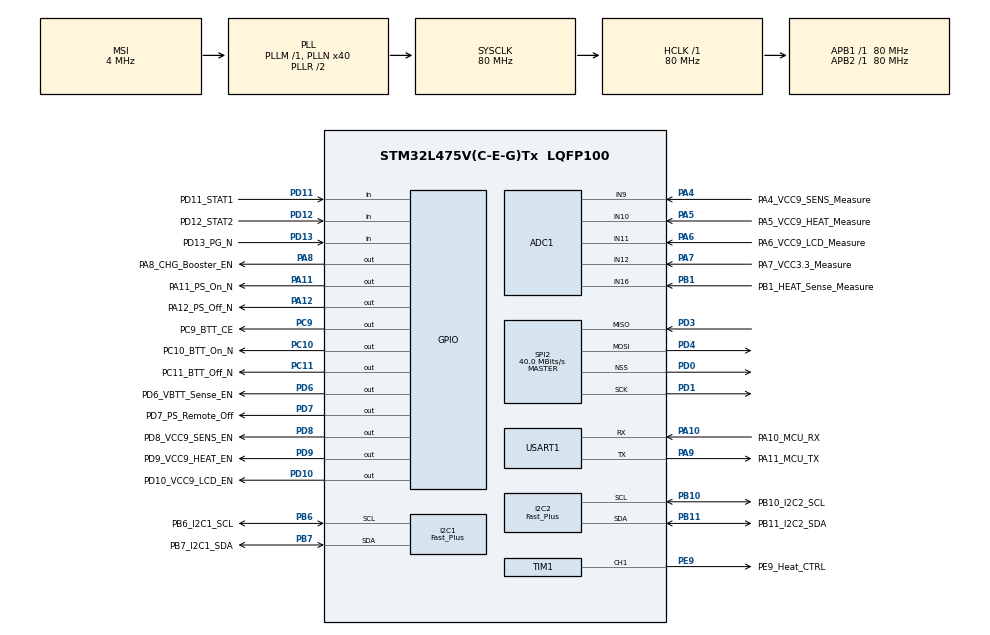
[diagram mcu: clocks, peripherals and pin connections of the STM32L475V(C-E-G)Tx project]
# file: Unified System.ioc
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ADC1.Channel-2\#ChannelRegularConversion=ADC_CHANNEL_9
ADC1.Channel-3\#ChannelRegularConversion=ADC_CHANNEL_10
ADC1.Channel-4\#ChannelRegularConversion=ADC_CHANNEL_11
ADC1.Channel-5\#ChannelRegularConversion=ADC_CHANNEL_12
ADC1.Channel-6\#ChannelRegularConversion=ADC_CHANNEL_16
ADC1.Channel-7\#ChannelRegularConversion=ADC_CHANNEL_TEMPSENSOR
ADC1.Channel-8\#ChannelRegularConversion=ADC_CHANNEL_VREFINT
ADC1.ContinuousConvMode=ENABLE
ADC1.NbrOfConversion=7
ADC1.NbrOfConversionFlag=1
ADC1.OffsetNumber-2\#ChannelRegularConversion=ADC_OFFSET_NONE
ADC1.OffsetNumber-3\#ChannelRegularConversion=ADC_OFFSET_NONE
ADC1.OffsetNumber-4\#ChannelRegularConversion=ADC_OFFSET_NONE
ADC1.OffsetNumber-5\#ChannelRegularConversion=ADC_OFFSET_NONE
ADC1.OffsetNumber-6\#ChannelRegularConversion=ADC_OFFSET_NONE
ADC1.OffsetNumber-7\#ChannelRegularConversion=ADC_OFFSET_NONE
ADC1.OffsetNumber-8\#ChannelRegularConversion=ADC_OFFSET_NONE
ADC1.OversamplingMode=ENABLE
ADC1.Rank-2\#ChannelRegularConversion=1
ADC1.Rank-3\#ChannelRegularConversion=2
ADC1.Rank-4\#ChannelRegularConversion=3
ADC1.Rank-5\#ChannelRegularConversion=4
ADC1.Rank-6\#ChannelRegularConversion=5
ADC1.Rank-7\#ChannelRegularConversion=6
ADC1.Rank-8\#ChannelRegularConversion=7
ADC1.Ratio=ADC_OVERSAMPLING_RATIO_8
ADC1.RightBitShift=ADC_RIGHTBITSHIFT_3
ADC1.SamplingTime-2\#ChannelRegularConversion=ADC_SAMPLETIME_6CYCLES_5
ADC1.SamplingTime-3\#ChannelRegularConversion=ADC_SAMPLETIME_6CYCLES_5
ADC1.SamplingTime-4\#ChannelRegularConversion=ADC_SAMPLETIME_6CYCLES_5
ADC1.SamplingTime-5\#ChannelRegularConversion=ADC_SAMPLETIME_6CYCLES_5
ADC1.SamplingTime-6\#ChannelRegularConversion=ADC_SAMPLETIME_6CYCLES_5
ADC1.SamplingTime-7\#ChannelRegularConversion=ADC_SAMPLETIME_6CYCLES_5
ADC1.SamplingTime-8\#ChannelRegularConversion=ADC_SAMPLETIME_6CYCLES_5
ADC1.master=1
I2C1.I2C_Coeff_DF=15
I2C1.I2C_Speed_Mode=I2C_Fast_Plus
I2C1.OwnAddress=0x3A
I2C1.Timing=0x00300123
I2C2.I2C_Coeff_DF=15
I2C2.I2C_Speed_Mode=I2C_Fast_Plus
I2C2.OwnAddress=0x3A
I2C2.Timing=0x00300123
Mcu.Family=STM32L4
Mcu.Name=STM32L475V(C-E-G)Tx
Mcu.Package=LQFP100
NVIC.PriorityGroup=NVIC_PRIORITYGROUP_4
NVIC.TIM4_IRQn=true\:0\:0\:false\:false\:true\:true\:true\:true
PA10.GPIO_Label=PA10_MCU_RX
PA10.Mode=Asynchronous
PA10.Signal=USART1_RX
PA11.GPIO_Label=PA11_PS_On_N
PA11.Signal=GPIO_Output
PA12.GPIO_Label=PA12_PS_Off_N
PA12.Signal=GPIO_Output
PA13\ (JTMS-SWDIO).GPIO_Label=PA13_SWDIO
PA13\ (JTMS-SWDIO).Signal=SYS_JTMS-SWDIO
PA14\ (JTCK-SWCLK).GPIO_Label=PA14_SWCLK
PA14\ (JTCK-SWCLK).Signal=SYS_JTCK-SWCLK
PA4.GPIO_Label=PA4_VCC9_SENS_Measure
PA4.Signal=ADCx_IN9
PA5.GPIO_Label=PA5_VCC9_HEAT_Measure
PA5.Signal=ADCx_IN10
PA6.GPIO_Label=PA6_VCC9_LCD_Measure
PA6.Signal=ADCx_IN11
PA7.GPIO_Label=PA7_VCC3.3_Measure
PA7.Signal=ADCx_IN12
PA8.GPIO_Label=PA8_CHG_Booster_EN
PA8.PinState=GPIO_PIN_SET
PA8.Signal=GPIO_Output
PA9.GPIO_Label=PA11_MCU_TX
PA9.Mode=Asynchronous
PA9.Signal=USART1_TX
PB1.GPIO_Label=PB1_HEAT_Sense_Measure
PB1.Signal=ADCx_IN16
PB10.GPIO_Label=PB10_I2C2_SCL
PB10.Mode=I2C
PB10.Signal=I2C2_SCL
PB11.GPIO_Label=PB11_I2C2_SDA
PB11.Mode=I2C
PB11.Signal=I2C2_SDA
PB6.GPIO_Label=PB6_I2C1_SCL
PB6.Mode=I2C
PB6.Signal=I2C1_SCL
PB7.GPIO_Label=PB7_I2C1_SDA
PB7.Mode=I2C
PB7.Signal=I2C1_SDA
PC10.GPIO_Label=PC10_BTT_On_N
PC10.Signal=GPIO_Output
PC11.GPIO_Label=PC11_BTT_Off_N
PC11.Signal=GPIO_Output
PC13.GPIO_Label=PC13_USER_PB
PC13.Mode=SYS_WakeUp1
PC13.Signal=SYS_WKUP2
PC9.GPIO_Label=PC9_BTT_CE
PC9.Signal=GPIO_Output
PD0.Mode=NSS_Signal_Hard_Output
PD0.Signal=SPI2_NSS
PD1.Mode=Full_Duplex_Master
PD1.Signal=SPI2_SCK
PD10.GPIO_Label=PD10_VCC9_LCD_EN
PD10.Signal=GPIO_Output
PD11.GPIO_Label=PD11_STAT1
PD11.Signal=GPIO_Input
PD12.GPIO_Label=PD12_STAT2
PD12.Signal=GPIO_Input
PD13.GPIO_Label=PD13_PG_N
PD13.Signal=GPIO_Input
PD3.Mode=Full_Duplex_Master
PD3.Signal=SPI2_MISO
PD4.Mode=Full_Duplex_Master
PD4.Signal=SPI2_MOSI
PD6.GPIO_Label=PD6_VBTT_Sense_EN
PD6.Signal=GPIO_Output
PD7.GPIO_Label=PD7_PS_Remote_Off
PD7.Signal=GPIO_Output
PD8.GPIO_Label=PD8_VCC9_SENS_EN
PD8.Signal=GPIO_Output
PD9.GPIO_Label=PD9_VCC9_HEAT_EN
PD9.Signal=GPIO_Output
PE6.GPIO_Label=PE6_VPS_Detect
PE6.Mode=SYS_WakeUp2
PE6.Signal=SYS_WKUP3
PE9.GPIO_Label=PE9_Heat_CTRL
PE9.Signal=S_TIM1_CH1
ProjectManager.HeapSize=0x200
ProjectManager.StackSize=0x400
ProjectManager.TargetToolchain=EWARM V8.32
RCC.ADCFreq_Value=32000000
RCC.AHBFreq_Value=80000000
RCC.APB1Freq_Value=80000000
RCC.APB1TimFreq_Value=80000000
RCC.APB2Freq_Value=80000000
RCC.APB2TimFreq_Value=80000000
RCC.CortexFreq_Value=80000000
RCC.HCLKFreq_Value=80000000
RCC.HSE_VALUE=8000000
RCC.HSI_VALUE=16000000
RCC.LSE_VALUE=32768
RCC.MSI_VALUE=4000000
RCC.PLLN=40
RCC.PLLSAI1N=16
RCC.SYSCLKFreq_VALUE=80000000
RCC.SYSCLKSource=RCC_SYSCLKSOURCE_PLLCLK
RCC.USBFreq_Value=32000000
RCC.VCOOutputFreq_Value=160000000
SH.ADCx_IN10.0=ADC1_IN10,IN10-Single-Ended
SH.ADCx_IN11.0=ADC1_IN11,IN11-Single-Ended
SH.ADCx_IN12.0=ADC1_IN12,IN12-Single-Ended
SH.ADCx_IN16.0=ADC1_IN16,IN16-Single-Ended
SH.ADCx_IN9.0=ADC1_IN9,IN9-Single-Ended
SH.S_TIM1_CH1.0=TIM1_CH1,PWM Generation1 CH1
SPI2.CalculateBaudRate=40.0 MBits/s
SPI2.Direction=SPI_DIRECTION_2LINES
SPI2.Mode=SPI_MODE_MASTER
SPI2.VirtualNSS=VM_NSSHARD
SPI2.VirtualType=VM_MASTER
TIM1.AutoReloadPreload=TIM_AUTORELOAD_PRELOAD_ENABLE
TIM1.Channel-PWM\ Generation1\ CH1=TIM_CHANNEL_1
TIM1.CounterMode=TIM_COUNTERMODE_DOWN
TIM1.OCFastMode_PWM-PWM\ Generation1\ CH1=TIM_OCFAST_ENABLE
TIM1.Prescaler=80-1
TIM1.Pulse-PWM\ Generation1\ CH1=100
TIM4.CounterMode=TIM_COUNTERMODE_DOWN
TIM4.Period=50000
TIM4.Prescaler=80-1
TIM5.Prescaler=799
USART1.VirtualMode-Asynchronous=VM_ASYNC
VP_ADC1_TempSens_Input.Mode=IN-TempSens
VP_ADC1_Vref_Input.Mode=IN-Vrefint
VP_TIM1_VS_ClockSourceINT.Mode=Internal
VP_TIM4_VS_ClockSourceINT.Mode=Internal
VP_TIM5_VS_ClockSourceINT.Mode=Internal
board=custom

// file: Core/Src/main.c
/* USER CODE BEGIN Header */
/**
  ******************************************************************************
  * @file           : main.c
  * @brief          : Main program body
  ******************************************************************************
  * @attention
  *
  * Copyright (c) 2024 STMicroelectronics.
  * All rights reserved.
  *
  * This software is licensed under terms that can be found in the LICENSE file
  * in the root directory of this software component.
  * If no LICENSE file comes with this software, it is provided AS-IS.
  *
  ******************************************************************************
  */
/* USER CODE END Header */
#include "main.h"

/* USER CODE BEGIN Includes */
#include <stdbool.h>
#include <Sensors.h>
#include <PID_Control.h>
/* USER CODE END Includes */

ADC_HandleTypeDef hadc1;

I2C_HandleTypeDef hi2c1;
I2C_HandleTypeDef hi2c2;

SPI_HandleTypeDef hspi2;

TIM_HandleTypeDef htim1;
TIM_HandleTypeDef htim4;

UART_HandleTypeDef huart1;

void SystemClock_Config(void);
static void MX_GPIO_Init(void);
static void MX_ADC1_Init(void);
static void MX_I2C1_Init(void);
static void MX_I2C2_Init(void);
static void MX_SPI2_Init(void);
static void MX_USART1_UART_Init(void);
static void MX_TIM1_Init(void);
static void MX_TIM4_Init(void);
static void MX_TIM5_Init(void);

int main(void)
{

  /* USER CODE BEGIN 1 */
   uint32_t uiCounter=0U;
  /* USER CODE END 1 */

  /* MCU Configuration--------------------------------------------------------*/

  /* Reset of all peripherals, Initializes the Flash interface and the Systick. */
  HAL_Init();

  /* Configure the system clock */
  SystemClock_Config();

  /* Initialize all configured peripherals */
  MX_GPIO_Init();
  MX_ADC1_Init();
  MX_I2C1_Init();
  MX_I2C2_Init();
  MX_SPI2_Init();
  MX_USART1_UART_Init();
  MX_TIM1_Init();
  MX_TIM4_Init();
  MX_TIM5_Init();
  /* USER CODE BEGIN 2 */

  Senors_I2C_Init();

  /* USER CODE END 2 */

  /* Infinite loop */
  /* USER CODE BEGIN WHILE */

  while (true)
  {
    /* USER CODE END WHILE */

    /* USER CODE BEGIN 3 */
    for (uint8_t uiSensorIndex = 0U; uiSensorIndex < 4U ; uiSensorIndex++)
    {
      IsDataReady(uiSensorIndex);
      Calculate_Temps(uiSensorIndex);
    }

    uiCounter=LL_TIM_GetCounter(TIM5);
    if( (LL_TIM_GetCounter(TIM5) - uiCounter) >  PID_PERIOD )
    {
      Calculate_PID(3U);
    }

  }
  /* USER CODE END 3 */
}

void SystemClock_Config(void)
{
  RCC_OscInitTypeDef RCC_OscInitStruct = {0};
  RCC_ClkInitTypeDef RCC_ClkInitStruct = {0};

  /** Configure the main internal regulator output voltage
  */
  if (HAL_PWREx_ControlVoltageScaling(PWR_REGULATOR_VOLTAGE_SCALE1) != HAL_OK)
  {
    Error_Handler();
  }

  /** Initializes the RCC Oscillators according to the specified parameters
  * in the RCC_OscInitTypeDef structure.
  */
  RCC_OscInitStruct.OscillatorType = RCC_OSCILLATORTYPE_MSI;
  RCC_OscInitStruct.MSIState = RCC_MSI_ON;
  RCC_OscInitStruct.MSICalibrationValue = 0;
  RCC_OscInitStruct.MSIClockRange = RCC_MSIRANGE_6;
  RCC_OscInitStruct.PLL.PLLState = RCC_PLL_ON;
  RCC_OscInitStruct.PLL.PLLSource = RCC_PLLSOURCE_MSI;
  RCC_OscInitStruct.PLL.PLLM = 1;
  RCC_OscInitStruct.PLL.PLLN = 40;
  RCC_OscInitStruct.PLL.PLLP = RCC_PLLP_DIV7;
  RCC_OscInitStruct.PLL.PLLQ = RCC_PLLQ_DIV2;
  RCC_OscInitStruct.PLL.PLLR = RCC_PLLR_DIV2;
  if (HAL_RCC_OscConfig(&RCC_OscInitStruct) != HAL_OK)
  {
    Error_Handler();
  }

  /** Initializes the CPU, AHB and APB buses clocks
  */
  RCC_ClkInitStruct.ClockType = RCC_CLOCKTYPE_HCLK|RCC_CLOCKTYPE_SYSCLK
                              |RCC_CLOCKTYPE_PCLK1|RCC_CLOCKTYPE_PCLK2;
  RCC_ClkInitStruct.SYSCLKSource = RCC_SYSCLKSOURCE_PLLCLK;
  RCC_ClkInitStruct.AHBCLKDivider = RCC_SYSCLK_DIV1;
  RCC_ClkInitStruct.APB1CLKDivider = RCC_HCLK_DIV1;
  RCC_ClkInitStruct.APB2CLKDivider = RCC_HCLK_DIV1;

  if (HAL_RCC_ClockConfig(&RCC_ClkInitStruct, FLASH_LATENCY_4) != HAL_OK)
  {
    Error_Handler();
  }
}

static void MX_ADC1_Init(void)
{

  ADC_MultiModeTypeDef multimode = {0};
  ADC_ChannelConfTypeDef sConfig = {0};

  /** Common config
  */
  hadc1.Instance = ADC1;
  hadc1.Init.ClockPrescaler = ADC_CLOCK_ASYNC_DIV1;
  hadc1.Init.Resolution = ADC_RESOLUTION_12B;
  hadc1.Init.DataAlign = ADC_DATAALIGN_RIGHT;
  hadc1.Init.ScanConvMode = ADC_SCAN_ENABLE;
  hadc1.Init.EOCSelection = ADC_EOC_SINGLE_CONV;
  hadc1.Init.LowPowerAutoWait = DISABLE;
  hadc1.Init.ContinuousConvMode = ENABLE;
  hadc1.Init.NbrOfConversion = 7;
  hadc1.Init.DiscontinuousConvMode = DISABLE;
  hadc1.Init.ExternalTrigConv = ADC_SOFTWARE_START;
  hadc1.Init.ExternalTrigConvEdge = ADC_EXTERNALTRIGCONVEDGE_NONE;
  hadc1.Init.DMAContinuousRequests = DISABLE;
  hadc1.Init.Overrun = ADC_OVR_DATA_PRESERVED;
  hadc1.Init.OversamplingMode = ENABLE;
  hadc1.Init.Oversampling.Ratio = ADC_OVERSAMPLING_RATIO_8;
  hadc1.Init.Oversampling.RightBitShift = ADC_RIGHTBITSHIFT_3;
  hadc1.Init.Oversampling.TriggeredMode = ADC_TRIGGEREDMODE_SINGLE_TRIGGER;
  hadc1.Init.Oversampling.OversamplingStopReset = ADC_REGOVERSAMPLING_CONTINUED_MODE;
  if (HAL_ADC_Init(&hadc1) != HAL_OK)
  {
    Error_Handler();
  }

  /** Configure the ADC multi-mode
  */
  multimode.Mode = ADC_MODE_INDEPENDENT;
  if (HAL_ADCEx_MultiModeConfigChannel(&hadc1, &multimode) != HAL_OK)
  {
    Error_Handler();
  }

  /** Configure Regular Channel
  */
  sConfig.Channel = ADC_CHANNEL_9;
  sConfig.Rank = ADC_REGULAR_RANK_1;
  sConfig.SamplingTime = ADC_SAMPLETIME_6CYCLES_5;
  sConfig.SingleDiff = ADC_SINGLE_ENDED;
  sConfig.OffsetNumber = ADC_OFFSET_NONE;
  sConfig.Offset = 0;
  if (HAL_ADC_ConfigChannel(&hadc1, &sConfig) != HAL_OK)
  {
    Error_Handler();
  }

  /** Configure Regular Channel
  */
  sConfig.Channel = ADC_CHANNEL_10;
  sConfig.Rank = ADC_REGULAR_RANK_2;
  if (HAL_ADC_ConfigChannel(&hadc1, &sConfig) != HAL_OK)
  {
    Error_Handler();
  }

  /** Configure Regular Channel
  */
  sConfig.Channel = ADC_CHANNEL_11;
  sConfig.Rank = ADC_REGULAR_RANK_3;
  if (HAL_ADC_ConfigChannel(&hadc1, &sConfig) != HAL_OK)
  {
    Error_Handler();
  }

  /** Configure Regular Channel
  */
  sConfig.Channel = ADC_CHANNEL_12;
  sConfig.Rank = ADC_REGULAR_RANK_4;
  if (HAL_ADC_ConfigChannel(&hadc1, &sConfig) != HAL_OK)
  {
    Error_Handler();
  }

  /** Configure Regular Channel
  */
  sConfig.Channel = ADC_CHANNEL_16;
  sConfig.Rank = ADC_REGULAR_RANK_5;
  if (HAL_ADC_ConfigChannel(&hadc1, &sConfig) != HAL_OK)
  {
    Error_Handler();
  }

  /** Configure Regular Channel
  */
  sConfig.Channel = ADC_CHANNEL_TEMPSENSOR;
  sConfig.Rank = ADC_REGULAR_RANK_6;
  if (HAL_ADC_ConfigChannel(&hadc1, &sConfig) != HAL_OK)
  {
    Error_Handler();
  }

  /** Configure Regular Channel
  */
  sConfig.Channel = ADC_CHANNEL_VREFINT;
  sConfig.Rank = ADC_REGULAR_RANK_7;
  if (HAL_ADC_ConfigChannel(&hadc1, &sConfig) != HAL_OK)
  {
    Error_Handler();
  }

}

static void MX_I2C1_Init(void)
{

  hi2c1.Instance = I2C1;
  hi2c1.Init.Timing = 0x00300123;
  hi2c1.Init.OwnAddress1 = 116;
  hi2c1.Init.AddressingMode = I2C_ADDRESSINGMODE_7BIT;
  hi2c1.Init.DualAddressMode = I2C_DUALADDRESS_DISABLE;
  hi2c1.Init.OwnAddress2 = 0;
  hi2c1.Init.OwnAddress2Masks = I2C_OA2_NOMASK;
  hi2c1.Init.GeneralCallMode = I2C_GENERALCALL_DISABLE;
  hi2c1.Init.NoStretchMode = I2C_NOSTRETCH_DISABLE;
  if (HAL_I2C_Init(&hi2c1) != HAL_OK)
  {
    Error_Handler();
  }

  /** Configure Analogue filter
  */
  if (HAL_I2CEx_ConfigAnalogFilter(&hi2c1, I2C_ANALOGFILTER_ENABLE) != HAL_OK)
  {
    Error_Handler();
  }

  /** Configure Digital filter
  */
  if (HAL_I2CEx_ConfigDigitalFilter(&hi2c1, 15) != HAL_OK)
  {
    Error_Handler();
  }

  /** I2C Fast mode Plus enable
  */
  HAL_I2CEx_EnableFastModePlus(I2C_FASTMODEPLUS_I2C1);

}

static void MX_I2C2_Init(void)
{

  hi2c2.Instance = I2C2;
  hi2c2.Init.Timing = 0x00300123;
  hi2c2.Init.OwnAddress1 = 116;
  hi2c2.Init.AddressingMode = I2C_ADDRESSINGMODE_7BIT;
  hi2c2.Init.DualAddressMode = I2C_DUALADDRESS_DISABLE;
  hi2c2.Init.OwnAddress2 = 0;
  hi2c2.Init.OwnAddress2Masks = I2C_OA2_NOMASK;
  hi2c2.Init.GeneralCallMode = I2C_GENERALCALL_DISABLE;
  hi2c2.Init.NoStretchMode = I2C_NOSTRETCH_DISABLE;
  if (HAL_I2C_Init(&hi2c2) != HAL_OK)
  {
    Error_Handler();
  }

  /** Configure Analogue filter
  */
  if (HAL_I2CEx_ConfigAnalogFilter(&hi2c2, I2C_ANALOGFILTER_ENABLE) != HAL_OK)
  {
    Error_Handler();
  }

  /** Configure Digital filter
  */
  if (HAL_I2CEx_ConfigDigitalFilter(&hi2c2, 15) != HAL_OK)
  {
    Error_Handler();
  }

  /** I2C Fast mode Plus enable
  */
  HAL_I2CEx_EnableFastModePlus(I2C_FASTMODEPLUS_I2C2);

}

static void MX_SPI2_Init(void)
{

  /* SPI2 parameter configuration*/
  hspi2.Instance = SPI2;
  hspi2.Init.Mode = SPI_MODE_MASTER;
  hspi2.Init.Direction = SPI_DIRECTION_2LINES;
  hspi2.Init.DataSize = SPI_DATASIZE_4BIT;
  hspi2.Init.CLKPolarity = SPI_POLARITY_LOW;
  hspi2.Init.CLKPhase = SPI_PHASE_1EDGE;
  hspi2.Init.NSS = SPI_NSS_HARD_OUTPUT;
  hspi2.Init.BaudRatePrescaler = SPI_BAUDRATEPRESCALER_2;
  hspi2.Init.FirstBit = SPI_FIRSTBIT_MSB;
  hspi2.Init.TIMode = SPI_TIMODE_DISABLE;
  hspi2.Init.CRCCalculation = SPI_CRCCALCULATION_DISABLE;
  hspi2.Init.CRCPolynomial = 7;
  hspi2.Init.CRCLength = SPI_CRC_LENGTH_DATASIZE;
  hspi2.Init.NSSPMode = SPI_NSS_PULSE_ENABLE;
  if (HAL_SPI_Init(&hspi2) != HAL_OK)
  {
    Error_Handler();
  }

}

static void MX_TIM1_Init(void)
{

  TIM_ClockConfigTypeDef sClockSourceConfig = {0};
  TIM_MasterConfigTypeDef sMasterConfig = {0};
  TIM_OC_InitTypeDef sConfigOC = {0};
  TIM_BreakDeadTimeConfigTypeDef sBreakDeadTimeConfig = {0};

  htim1.Instance = TIM1;
  htim1.Init.Prescaler = 80-1;
  htim1.Init.CounterMode = TIM_COUNTERMODE_DOWN;
  htim1.Init.Period = 65535;
  htim1.Init.ClockDivision = TIM_CLOCKDIVISION_DIV1;
  htim1.Init.RepetitionCounter = 0;
  htim1.Init.AutoReloadPreload = TIM_AUTORELOAD_PRELOAD_ENABLE;
  if (HAL_TIM_Base_Init(&htim1) != HAL_OK)
  {
    Error_Handler();
  }
  sClockSourceConfig.ClockSource = TIM_CLOCKSOURCE_INTERNAL;
  if (HAL_TIM_ConfigClockSource(&htim1, &sClockSourceConfig) != HAL_OK)
  {
    Error_Handler();
  }
  if (HAL_TIM_PWM_Init(&htim1) != HAL_OK)
  {
    Error_Handler();
  }
  sMasterConfig.MasterOutputTrigger = TIM_TRGO_RESET;
  sMasterConfig.MasterOutputTrigger2 = TIM_TRGO2_RESET;
  sMasterConfig.MasterSlaveMode = TIM_MASTERSLAVEMODE_DISABLE;
  if (HAL_TIMEx_MasterConfigSynchronization(&htim1, &sMasterConfig) != HAL_OK)
  {
    Error_Handler();
  }
  sConfigOC.OCMode = TIM_OCMODE_PWM1;
  sConfigOC.Pulse = 100;
  sConfigOC.OCPolarity = TIM_OCPOLARITY_HIGH;
  sConfigOC.OCNPolarity = TIM_OCNPOLARITY_HIGH;
  sConfigOC.OCFastMode = TIM_OCFAST_ENABLE;
  sConfigOC.OCIdleState = TIM_OCIDLESTATE_RESET;
  sConfigOC.OCNIdleState = TIM_OCNIDLESTATE_RESET;
  if (HAL_TIM_PWM_ConfigChannel(&htim1, &sConfigOC, TIM_CHANNEL_1) != HAL_OK)
  {
    Error_Handler();
  }
  sBreakDeadTimeConfig.OffStateRunMode = TIM_OSSR_DISABLE;
  sBreakDeadTimeConfig.OffStateIDLEMode = TIM_OSSI_DISABLE;
  sBreakDeadTimeConfig.LockLevel = TIM_LOCKLEVEL_OFF;
  sBreakDeadTimeConfig.DeadTime = 0;
  sBreakDeadTimeConfig.BreakState = TIM_BREAK_DISABLE;
  sBreakDeadTimeConfig.BreakPolarity = TIM_BREAKPOLARITY_HIGH;
  sBreakDeadTimeConfig.BreakFilter = 0;
  sBreakDeadTimeConfig.Break2State = TIM_BREAK2_DISABLE;
  sBreakDeadTimeConfig.Break2Polarity = TIM_BREAK2POLARITY_HIGH;
  sBreakDeadTimeConfig.Break2Filter = 0;
  sBreakDeadTimeConfig.AutomaticOutput = TIM_AUTOMATICOUTPUT_DISABLE;
  if (HAL_TIMEx_ConfigBreakDeadTime(&htim1, &sBreakDeadTimeConfig) != HAL_OK)
  {
    Error_Handler();
  }
  /* USER CODE BEGIN TIM1_Init 2 */
    HAL_TIM_PWM_Start(&htim1, TIM_CHANNEL_1);

  /* USER CODE END TIM1_Init 2 */
  HAL_TIM_MspPostInit(&htim1);

}

static void MX_TIM4_Init(void)
{

  TIM_ClockConfigTypeDef sClockSourceConfig = {0};
  TIM_MasterConfigTypeDef sMasterConfig = {0};

  htim4.Instance = TIM4;
  htim4.Init.Prescaler = 80-1;
  htim4.Init.CounterMode = TIM_COUNTERMODE_DOWN;
  htim4.Init.Period = 50000;
  htim4.Init.ClockDivision = TIM_CLOCKDIVISION_DIV1;
  htim4.Init.AutoReloadPreload = TIM_AUTORELOAD_PRELOAD_DISABLE;
  if (HAL_TIM_Base_Init(&htim4) != HAL_OK)
  {
    Error_Handler();
  }
  sClockSourceConfig.ClockSource = TIM_CLOCKSOURCE_INTERNAL;
  if (HAL_TIM_ConfigClockSource(&htim4, &sClockSourceConfig) != HAL_OK)
  {
    Error_Handler();
  }
  sMasterConfig.MasterOutputTrigger = TIM_TRGO_RESET;
  sMasterConfig.MasterSlaveMode = TIM_MASTERSLAVEMODE_DISABLE;
  if (HAL_TIMEx_MasterConfigSynchronization(&htim4, &sMasterConfig) != HAL_OK)
  {
    Error_Handler();
  }

}

static void MX_TIM5_Init(void)
{

  LL_TIM_InitTypeDef TIM_InitStruct = {0};

  /* Peripheral clock enable */
  LL_APB1_GRP1_EnableClock(LL_APB1_GRP1_PERIPH_TIM5);

  TIM_InitStruct.Prescaler = 799;
  TIM_InitStruct.CounterMode = LL_TIM_COUNTERMODE_UP;
  TIM_InitStruct.Autoreload = 4294967295;
  TIM_InitStruct.ClockDivision = LL_TIM_CLOCKDIVISION_DIV1;
  LL_TIM_Init(TIM5, &TIM_InitStruct);
  LL_TIM_DisableARRPreload(TIM5);
  LL_TIM_SetClockSource(TIM5, LL_TIM_CLOCKSOURCE_INTERNAL);
  LL_TIM_SetTriggerOutput(TIM5, LL_TIM_TRGO_RESET);
  LL_TIM_DisableMasterSlaveMode(TIM5);
  /* USER CODE BEGIN TIM5_Init 2 */
  LL_TIM_SetCounter(TIM5,0U);
  LL_TIM_EnableCounter(TIM5);
  /* USER CODE END TIM5_Init 2 */

}

static void MX_USART1_UART_Init(void)
{

  huart1.Instance = USART1;
  huart1.Init.BaudRate = 115200;
  huart1.Init.WordLength = UART_WORDLENGTH_8B;
  huart1.Init.StopBits = UART_STOPBITS_1;
  huart1.Init.Parity = UART_PARITY_NONE;
  huart1.Init.Mode = UART_MODE_TX_RX;
  huart1.Init.HwFlowCtl = UART_HWCONTROL_NONE;
  huart1.Init.OverSampling = UART_OVERSAMPLING_16;
  huart1.Init.OneBitSampling = UART_ONE_BIT_SAMPLE_DISABLE;
  huart1.AdvancedInit.AdvFeatureInit = UART_ADVFEATURE_NO_INIT;
  if (HAL_UART_Init(&huart1) != HAL_OK)
  {
    Error_Handler();
  }

}

static void MX_GPIO_Init(void)
{
  GPIO_InitTypeDef GPIO_InitStruct = {0};

  /* GPIO Ports Clock Enable */
  __HAL_RCC_GPIOE_CLK_ENABLE();
  __HAL_RCC_GPIOC_CLK_ENABLE();
  __HAL_RCC_GPIOA_CLK_ENABLE();
  __HAL_RCC_GPIOB_CLK_ENABLE();
  __HAL_RCC_GPIOD_CLK_ENABLE();

  /*Configure GPIO pin Output Level */
  HAL_GPIO_WritePin(GPIOD, PD8_VCC9_SENS_EN_Pin|PD9_VCC9_HEAT_EN_Pin|PD10_VCC9_LCD_EN_Pin|PD6_VBTT_Sense_EN_Pin
                          |PD7_PS_Remote_Off_Pin, GPIO_PIN_RESET);

  /*Configure GPIO pin Output Level */
  HAL_GPIO_WritePin(GPIOC, PC9_BTT_CE_Pin|PC10_BTT_On_N_Pin|PC11_BTT_Off_N_Pin, GPIO_PIN_RESET);

  /*Configure GPIO pin Output Level */
  HAL_GPIO_WritePin(PA8_CHG_Booster_EN_GPIO_Port, PA8_CHG_Booster_EN_Pin, GPIO_PIN_SET);

  /*Configure GPIO pin Output Level */
  HAL_GPIO_WritePin(GPIOA, PA11_PS_On_N_Pin|PA12_PS_Off_N_Pin, GPIO_PIN_RESET);

  /*Configure GPIO pins : PD8_VCC9_SENS_EN_Pin PD9_VCC9_HEAT_EN_Pin PD10_VCC9_LCD_EN_Pin PD6_VBTT_Sense_EN_Pin
                           PD7_PS_Remote_Off_Pin */
  GPIO_InitStruct.Pin = PD8_VCC9_SENS_EN_Pin|PD9_VCC9_HEAT_EN_Pin|PD10_VCC9_LCD_EN_Pin|PD6_VBTT_Sense_EN_Pin
                          |PD7_PS_Remote_Off_Pin;
  GPIO_InitStruct.Mode = GPIO_MODE_OUTPUT_PP;
  GPIO_InitStruct.Pull = GPIO_NOPULL;
  GPIO_InitStruct.Speed = GPIO_SPEED_FREQ_LOW;
  HAL_GPIO_Init(GPIOD, &GPIO_InitStruct);

  /*Configure GPIO pins : PD11_STAT1_Pin PD12_STAT2_Pin PD13_PG_N_Pin */
  GPIO_InitStruct.Pin = PD11_STAT1_Pin|PD12_STAT2_Pin|PD13_PG_N_Pin;
  GPIO_InitStruct.Mode = GPIO_MODE_INPUT;
  GPIO_InitStruct.Pull = GPIO_NOPULL;
  HAL_GPIO_Init(GPIOD, &GPIO_InitStruct);

  /*Configure GPIO pins : PC9_BTT_CE_Pin PC10_BTT_On_N_Pin PC11_BTT_Off_N_Pin */
  GPIO_InitStruct.Pin = PC9_BTT_CE_Pin|PC10_BTT_On_N_Pin|PC11_BTT_Off_N_Pin;
  GPIO_InitStruct.Mode = GPIO_MODE_OUTPUT_PP;
  GPIO_InitStruct.Pull = GPIO_NOPULL;
  GPIO_InitStruct.Speed = GPIO_SPEED_FREQ_LOW;
  HAL_GPIO_Init(GPIOC, &GPIO_InitStruct);

  /*Configure GPIO pins : PA8_CHG_Booster_EN_Pin PA11_PS_On_N_Pin PA12_PS_Off_N_Pin */
  GPIO_InitStruct.Pin = PA8_CHG_Booster_EN_Pin|PA11_PS_On_N_Pin|PA12_PS_Off_N_Pin;
  GPIO_InitStruct.Mode = GPIO_MODE_OUTPUT_PP;
  GPIO_InitStruct.Pull = GPIO_NOPULL;
  GPIO_InitStruct.Speed = GPIO_SPEED_FREQ_LOW;
  HAL_GPIO_Init(GPIOA, &GPIO_InitStruct);

}

void Error_Handler(void)
{
  __disable_irq();
  while (1)
  {
  }
}
